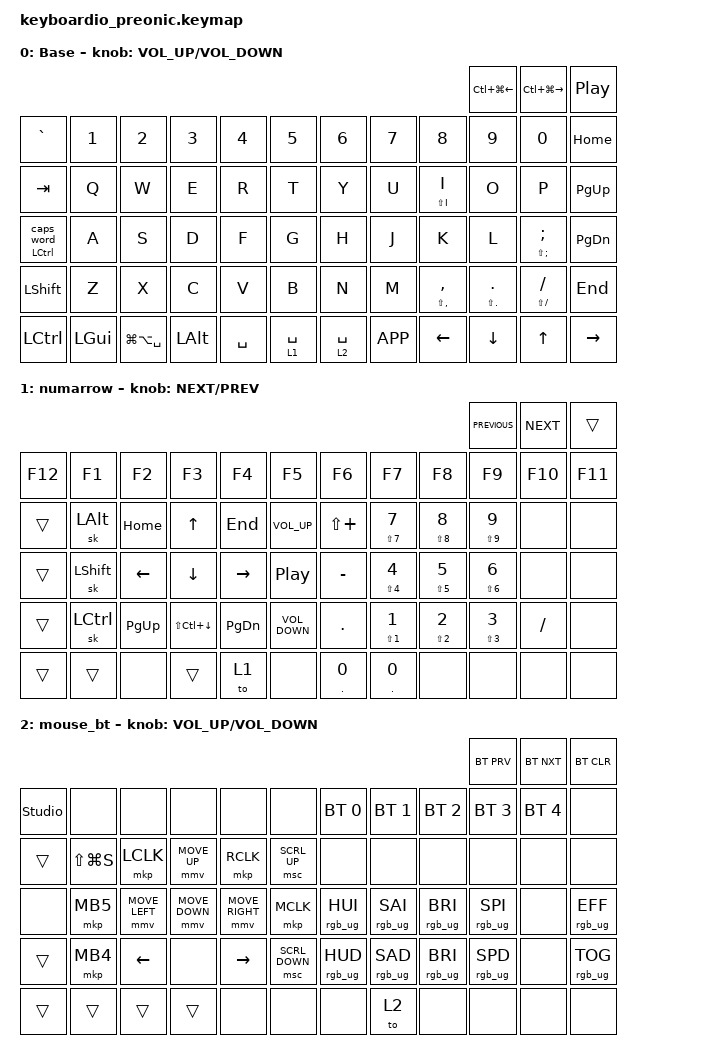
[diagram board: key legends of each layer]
/*
 * Copyright (c) 2022 Pete Johanson
 *
 * SPDX-License-Identifier: MIT
 */

#define ZMK_POINTING_DEFAULT_MOVE_VAL 1500  // default: 600
#define ZMK_POINTING_DEFAULT_SCRL_VAL 20    // default: 10

#include <behaviors.dtsi>
#include <dt-bindings/zmk/bt.h>
#include <dt-bindings/zmk/keys.h>
#include <dt-bindings/zmk/pointing.h>
#include <dt-bindings/zmk/rgb.h>

/ {
    chosen {
        // Valid choices: [ &mit_layout, &ortho_layout ]

        zmk,physical-layout = &ortho_layout;
    };
/*
    layer_listeners {
        compatible = "zmk,layer-listeners";
        // disable led when entering qwerty layer
        qwerty_feedback {
            layers = <0>;
            bindings = <&rgb_ug RGB_OFF>;
        };
        arrow_num_feedback {
            layers = <1>;
            bindings = <&rgb_ug RGB_ON>;
        };
        

    };
    */

    combos {
        compatible = "zmk,combos";

        combo-quote {
            bindings = <&tapholdkp LS(SINGLE_QUOTE) SINGLE_QUOTE>;
            key-positions = <24 23>;
        };

        combo-dash {
            bindings = <&tapholdkp LS(MINUS) MINUS>;
            key-positions = <36 35 34>;
        };

        combo-enter {
            bindings = <&kp KP_ENTER>;
            key-positions = <34 35>;
        };

        combo-backspace {
            bindings = <&kp BACKSPACE>;
            key-positions = <34 33>;
        };

        combo-bracket {
            bindings = <&tapholdkp RIGHT_PARENTHESIS LEFT_PARENTHESIS>;
            key-positions = <34 23>;
        };

        combo-curlybracket {
            bindings = <&tapholdkp RIGHT_BRACE LEFT_BRACE>;
            key-positions = <34 24>;
        };

        combo-leftsquarebracket {
            bindings = <&tapholdkp RIGHT_BRACKET LEFT_BRACKET>;
            key-positions = <34 47>;
        };

        combo-pipe {
            bindings = <&tapholdkp LS(BACKSLASH) BACKSLASH>;
            key-positions = <34 21>;
        };

        combo-equal {
            bindings = <&tapholdkp LS(EQUAL) EQUAL>;
            key-positions = <34 36>;
        };

        combo-del {
            bindings = <&kp DEL>;
            key-positions = <33 34 57>;
        };

        combo-esc {
            bindings = <&kp ESC>;
            key-positions = <32 31>;
        };

        combo_selectall {
            bindings = <&kp LG(TAB)>;
            key-positions = <0 1>;
            layers = <0>;
        };

        combo_resetsystem {
            bindings = <&sys_reset>;
            key-positions = <14 26 38>;
        };
    };

    behaviors {
        ctrlcapword: ctrlcapword {
            compatible = "zmk,behavior-hold-tap";
            label = "CTRLCAPWORD";
            bindings = <&kp>, <&caps_word>;

            #binding-cells = <2>;
            tapping-term-ms = <200>;
        };

        tapholdkp: tapholdkp {
            compatible = "zmk,behavior-hold-tap";
            label = "TAPHOLDKP";
            bindings = <&kp>, <&kp>;

            #binding-cells = <2>;
            tapping-term-ms = <225>;
            quick-tap-ms = <200>;
            require-prior-idle-ms = <125>;
            flavor = "balanced";
        };

        tapholdlayer: tapholdlayer {
            compatible = "zmk,behavior-hold-tap";
            label = "TAPHOLDLAYER";
            #binding-cells = <2>;
            tapping-term-ms = <400>;
            quick-tap-ms = <200>;
            require-prior-idle-ms = <125>;
            flavor = "tap-preferred";
            bindings = <&mo>, <&kp>;
        };

        bluetooth_Tap_Hold: bluetooth_Tap_Hold {
            compatible = "zmk,behavior-hold-tap";
            label = "BLUETOOTH_TAP_HOLD";
            bindings = <&bt>, <&bt>;

            #binding-cells = <2>;
            flavor = "tap-preferred";
            tapping-term-ms = <300>;
        };
    };

    keymap {
        compatible = "zmk,keymap";

        base_layer {
            label = "Base";
            bindings = <
                                                                                                                                                   &kp LC(LG(LEFT))        &kp LC(LG(RIGHT_ARROW))    &kp C_PLAY_PAUSE
&kp GRAVE             &kp N1    &kp N2             &kp N3    &kp N4     &kp N5       &kp N6                 &kp N7     &kp N8                      &kp N9                  &kp N0                     &kp HOME
&kp TAB               &kp Q     &kp W              &kp E     &kp R      &kp T        &kp Y                  &kp U      &tapholdkp LS(I) I          &kp O                   &kp P                      &kp PAGE_UP
&ctrlcapword LCTRL 0  &kp A     &kp S              &kp D     &kp F      &kp G        &kp H                  &kp J      &kp K                       &kp L                   &tapholdkp LS(SEMI) SEMI   &kp PAGE_DOWN
&kp LSHFT             &kp Z     &kp X              &kp C     &kp V      &kp B        &kp N                  &kp M      &tapholdkp LS(COMMA) COMMA  &tapholdkp LS(DOT) DOT  &tapholdkp LS(FSLH) SLASH  &kp END
&kp LCTRL             &kp LGUI  &kp LG(LA(SPACE))  &kp LALT  &kp SPACE  &lt 1 SPACE  &tapholdlayer 2 SPACE  &kp K_APP  &kp LEFT                    &kp DOWN_ARROW          &kp UP_ARROW               &kp RIGHT_ARROW
            >;

            sensor-bindings = <&inc_dec_kp C_VOLUME_UP C_VOLUME_DOWN>;
        };

        num_arrow {
            label = "numarrow";
            bindings = <
                                                                                                                                                                                               &kp C_PREVIOUS                    &kp C_NEXT  &trans
&kp F12  &kp F1          &kp F2          &kp F3                  &kp F4           &kp F5             &kp F6                &kp F7                            &kp F8                            &kp F9                            &kp F10     &kp F11
&trans   &sk LEFT_ALT    &kp HOME        &kp UP_ARROW            &kp END          &kp C_VOLUME_UP    &kp LS(PLUS)          &tapholdkp LS(N7) N7              &tapholdkp LS(N8) N8              &tapholdkp LS(N9) N9              &none       &none
&trans   &sk LEFT_SHIFT  &kp LEFT_ARROW  &kp DOWN_ARROW          &kp RIGHT_ARROW  &kp C_PLAY_PAUSE   &kp MINUS             &tapholdkp LS(N4) NUMBER_4        &tapholdkp LS(N5) N5              &tapholdkp LS(N6) NUMBER_6        &none       &none
&trans   &sk LCTRL       &kp PAGE_UP     &kp LS(LC(DOWN_ARROW))  &kp PAGE_DOWN    &kp C_VOLUME_DOWN  &kp DOT               &tapholdkp LS(NUMBER_1) NUMBER_1  &tapholdkp LS(NUMBER_2) NUMBER_2  &tapholdkp LS(NUMBER_3) NUMBER_3  &kp SLASH   &none
&trans   &trans          &none           &trans                  &to 1            &none              &tapholdkp PERIOD N0  &tapholdkp PERIOD N0              &none                             &none                             &none       &none
            >;

            sensor-bindings = <&inc_dec_kp C_NEXT C_PREV>;
        };

        mouse_bt {
            bindings = <
                                                                                                                                                   &bt BT_PRV       &bt BT_NXT    &bt BT_CLR
&studio_unlock  &none          &none           &none           &none            &none           &bt BT_SEL 0     &bt BT_SEL 1     &bt BT_SEL 2     &bt BT_SEL 3     &bt BT_SEL 4  &none
&trans          &kp LS(LG(S))  &mkp LCLK       &mmv MOVE_UP    &mkp RCLK        &msc SCRL_UP    &none            &none            &none            &none            &none         &none
&none           &mkp MB5       &mmv MOVE_LEFT  &mmv MOVE_DOWN  &mmv MOVE_RIGHT  &mkp MCLK       &rgb_ug RGB_HUI  &rgb_ug RGB_SAI  &rgb_ug RGB_BRI  &rgb_ug RGB_SPI  &none         &rgb_ug RGB_EFF
&trans          &mkp MB4       &kp LEFT_ARROW  &none           &kp RIGHT_ARROW  &msc SCRL_DOWN  &rgb_ug RGB_HUD  &rgb_ug RGB_SAD  &rgb_ug RGB_BRI  &rgb_ug RGB_SPD  &none         &rgb_ug RGB_TOG
&trans          &trans         &trans          &trans          &none            &none           &none            &to 2            &none            &none            &none         &none
            >;

            sensor-bindings = <&inc_dec_kp C_VOL_UP C_VOLUME_DOWN>;
        };
    };
};
